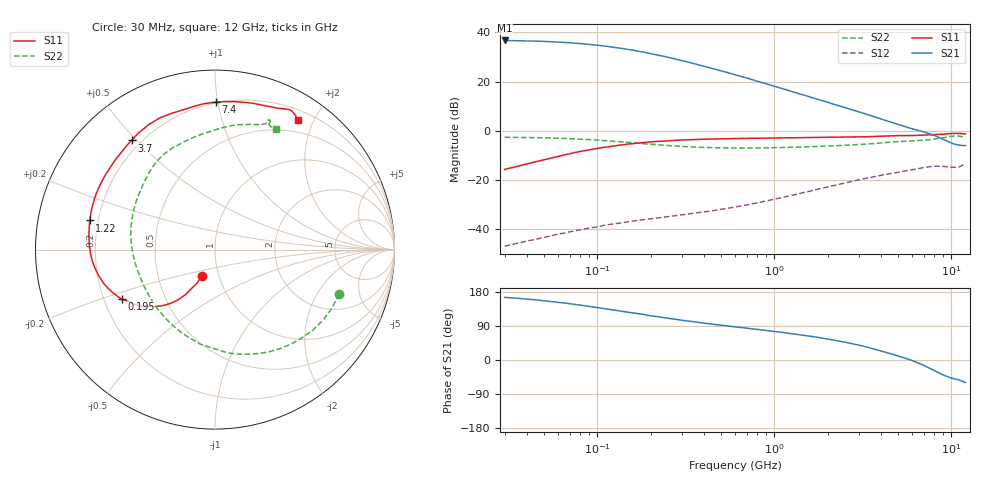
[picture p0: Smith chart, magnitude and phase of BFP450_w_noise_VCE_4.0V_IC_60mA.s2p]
! (c) 2015  Infineon Technologies AG, Munich
! Infineon Technologies  Discrete & RF Semiconductors
! BFP450
! VCE =  4.0 V,  IC =  60 mA
! Common Emitter S-Parameters:  Nov 2015
# GHz  S  MA  R  50
!  f  S11  S21  S12  S22
! GHz  MAG  ANG  MAG  ANG  MAG  ANG  MAG  ANG
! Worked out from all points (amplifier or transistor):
!   239 points, 30 MHz to 12 GHz, reference 50 ohm
!   highest |S21| = 36.7 dB at 30 MHz (marker M1)
!   |S21| within 3 dB of that: start of sweep to 130.8 MHz
!   unconditionally stable (mu >= 1): 1.1 GHz to end of sweep
!   at 300 MHz: K = 0.62, MSG = 31.4 dB, |S12| = -34.2 dB
!   at 1.88 GHz: K = 1.08, MAG = 16.0 dB, |S12| = -23.3 dB
!   at 12 GHz: K = 1.09, MAG = 2.0 dB, |S12| = -13.6 dB
!   lowest NFmin = 1.69 dB at 450 MHz
!   S11 on the Smith chart (normalised r, x): 30 MHz: 0.83, -0.25; 195 MHz: 0.27, -0.23; 1.22 GHz: 0.17, +0.11; 3.7 GHz: 0.16, +0.48; 7.4 GHz: 0.19, +0.99; 12 GHz: 0.32, +1.78
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0.03  0.1632 -116.9  68.38 165.3  0.0045 56.4  0.7362 -19.7
0.04  0.2118 -118.0  67.08 160.9  0.0057 57.9  0.7287 -26.5
0.05  0.2566 -121.4  65.5 156.4  0.0068 57.8  0.7192 -33.0
0.06  0.3014 -123.4  63.45 152.6  0.0079 58.5  0.7068 -39.3
0.07  0.3419 -126.0  61.31 148.4  0.0088 57.2  0.6911 -45.3
0.085  0.3942 -130.1  58.04 143.3  0.0101 55.7  0.6679 -53.7
0.11  0.4613 -136.6  52.67 135.6  0.012 53.7  0.6308 -66.3
0.13  0.5026 -140.7  48.56 130.4  0.0131 52.0  0.6038 -75.1
0.15  0.5368 -145.0  44.84 125.7  0.0142 50.8  0.5796 -83.0
0.195  0.5879 -152.2  37.66 117.7  0.016 49.1  0.5353 -97.4
0.24  0.6196 -157.5  32.26 111.6  0.0176 48.5  0.5056 -108.8
0.3  0.6485 -163.2  26.64 104.9  0.0195 48.5  0.4804 -121.2
0.36  0.6642 -167.4  22.64 100.2  0.0212 49.3  0.4646 -130.2
0.45  0.6795 -172.2  18.28 94.3  0.0237 50.8  0.452 -140.8
0.6  0.694 -178.1  13.71 87.4  0.0281 52.9  0.445 -152.9
0.8  0.7035 176.0  10.17 80.6  0.0342 54.7  0.4463 -163.7
1.22  0.7162 166.9  6.472 70.3  0.0474 55.2  0.4596 -178.5
1.64  0.7263 159.2  4.697 62.1  0.0609 53.0  0.4746 171.0
3.7  0.7656 127.4  1.907 28.4  0.1174 31.8  0.5509 134.4
4.5  0.7881 117.9  1.507 17.1  0.1334 23.9  0.5853 124.6
7.4  0.8223 89.6  0.887 -20.0  0.184 -6.2  0.6529 94.3
12  0.8581 57.4  0.5 -59.6  0.2093 -40.3  0.7538 63.2
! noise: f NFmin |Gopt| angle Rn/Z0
0.45  1.69  0.56  -173  0.06
0.9  1.74  0.58  -167  0.07
1.9  1.84  0.62  -151  0.12
2.4  1.92  0.62  -143  0.16
